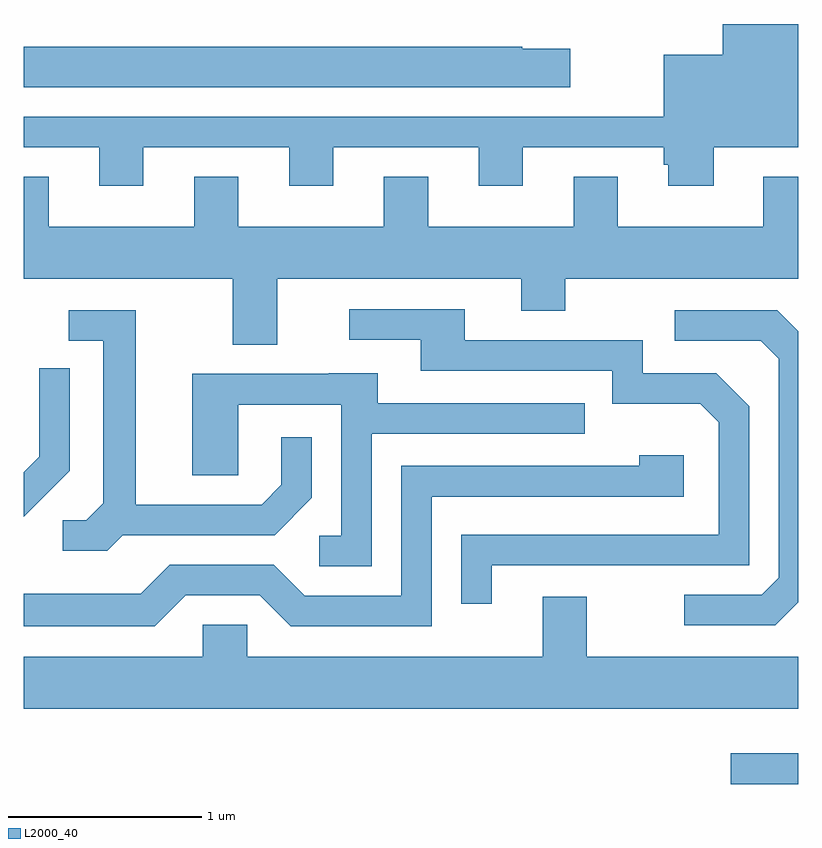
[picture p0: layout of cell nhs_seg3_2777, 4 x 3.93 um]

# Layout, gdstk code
import gdstk
lib = gdstk.Library(unit=1e-6, precision=1e-09)
def R(c, l, rs):  # rectangles x0, y0, x1, y1
    for r in rs: c.add(gdstk.rectangle(r[:2], r[2:], *l))
def P(c, l, *ps):  # polygons
    for p in ps: c.add(gdstk.Polygon(p, *l))
L2000_40 = (2000, 40)

nhs_seg3_2777 = lib.new_cell('nhs_seg3_2777')
R(nhs_seg3_2777, L2000_40, [(269.263,1229.966,269.611,1230.124)])
P(nhs_seg3_2777, L2000_40, [(266.229,1233.256),(266.981,1233.256),(266.981,1233.056),(267.209,1233.056),(267.209,1233.256),(267.961,1233.256),(267.961,1233.056),(268.189,1233.056),(268.189,1233.256),(268.916,1233.256),(268.916,1233.166),(268.941,1233.166),(268.941,1233.056),(269.174,1233.056),(269.174,1233.256),(269.611,1233.256),(269.611,1233.892),(269.221,1233.892),(269.221,1233.734),(268.916,1233.734),(268.916,1233.414),(265.611,1233.414),(265.611,1233.256),(266.001,1233.256),(266.001,1233.056),(266.229,1233.056)],
  [(268.434,1233.764),(268.185,1233.764),(268.185,1233.774),(265.611,1233.774),(265.611,1233.566),(268.434,1233.566)],
  [(266.919,1232.576),(268.181,1232.576),(268.181,1232.411),(268.409,1232.411),(268.409,1232.576),(269.611,1232.576),(269.611,1233.104),(269.431,1233.104),(269.431,1232.844),(268.679,1232.844),(268.679,1233.104),(268.451,1233.104),(268.451,1232.844),(267.699,1232.844),(267.699,1233.104),(267.471,1233.104),(267.471,1232.844),(266.719,1232.844),(266.719,1233.104),(266.491,1233.104),(266.491,1232.844),(265.739,1232.844),(265.739,1233.104),(265.611,1233.104),(265.611,1232.576),(266.691,1232.576),(266.691,1232.236),(266.919,1232.236)],
  [(268.029,1231.096),(269.359,1231.096),(269.359,1231.917),(269.187,1232.089),(268.809,1232.089),(268.809,1232.259),(267.889,1232.259),(267.889,1232.419),(267.293,1232.419),(267.293,1232.261),(267.661,1232.261),(267.661,1232.101),(268.651,1232.101),(268.651,1231.931),(269.104,1231.931),(269.201,1231.834),(269.201,1231.254),(267.871,1231.254),(267.871,1230.898),(268.029,1230.898)],
  [(269.611,1230.906),(269.611,1232.305),(269.502,1232.414),(268.973,1232.414),(268.973,1232.256),(269.419,1232.256),(269.511,1232.164),(269.511,1231.032),(269.424,1230.944),(269.023,1230.944),(269.023,1230.786),(269.492,1230.786)],
  [(266.122,1231.251),(266.907,1231.251),(267.099,1231.444),(267.099,1231.758),(266.941,1231.758),(266.941,1231.512),(266.839,1231.409),(266.189,1231.409),(266.189,1232.414),(265.843,1232.414),(265.843,1232.256),(266.021,1232.256),(266.021,1231.417),(265.934,1231.329),(265.813,1231.329),(265.813,1231.171),(266.042,1231.171)],
  [(265.849,1231.584),(265.849,1232.113),(265.691,1232.113),(265.691,1231.657),(265.611,1231.577),(265.611,1231.346)],
  [(267.409,1231.776),(268.508,1231.776),(268.508,1231.934),(267.439,1231.934),(267.439,1232.089),(267.185,1232.089),(267.185,1232.084),(266.481,1232.084),(266.481,1231.561),(266.719,1231.561),(266.719,1231.926),(267.251,1231.926),(267.251,1231.249),(267.138,1231.249),(267.138,1231.091),(267.409,1231.091)],
  [(266.447,1230.941),(266.829,1230.941),(266.989,1230.781),(267.719,1230.781),(267.719,1231.451),(269.019,1231.451),(269.019,1231.664),(268.791,1231.664),(268.791,1231.609),(267.561,1231.609),(267.561,1230.939),(267.062,1230.939),(266.902,1231.099),(266.364,1231.099),(266.214,1230.949),(265.611,1230.949),(265.611,1230.781),(266.287,1230.781)],
  [(269.611,1230.624),(268.519,1230.624),(268.519,1230.934),(268.291,1230.934),(268.291,1230.624),(266.764,1230.624),(266.764,1230.789),(266.536,1230.789),(266.536,1230.624),(265.611,1230.624),(265.611,1230.356),(269.611,1230.356)])

lib.write_gds('nhs_seg3_2777.gds')
